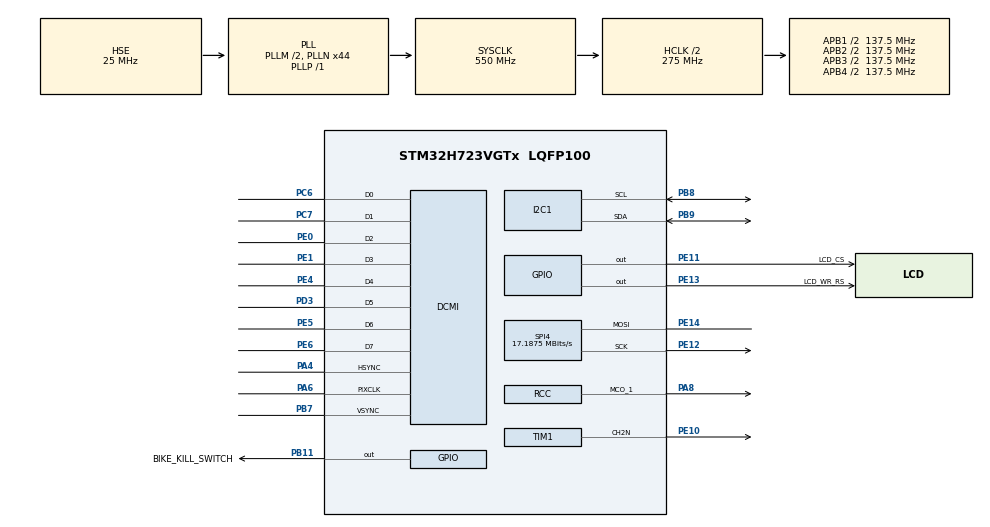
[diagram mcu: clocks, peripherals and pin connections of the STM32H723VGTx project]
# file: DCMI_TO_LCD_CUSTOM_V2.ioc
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CORTEX_M7.CPU_DCache=Enabled
CORTEX_M7.CPU_ICache=Enabled
CORTEX_M7.MPU_Control=__NULL
DCMI.CaptureRate=DCMI_CR_ALL_FRAME
DCMI.PCKPolarity=DCMI_PCKPOLARITY_RISING
Dma.DCMI.0.Direction=DMA_PERIPH_TO_MEMORY
Dma.DCMI.0.EventEnable=DISABLE
Dma.DCMI.0.FIFOMode=DMA_FIFOMODE_DISABLE
Dma.DCMI.0.Instance=DMA1_Stream0
Dma.DCMI.0.MemDataAlignment=DMA_MDATAALIGN_WORD
Dma.DCMI.0.MemInc=DMA_MINC_ENABLE
Dma.DCMI.0.Mode=DMA_CIRCULAR
Dma.DCMI.0.PeriphDataAlignment=DMA_PDATAALIGN_WORD
Dma.DCMI.0.PeriphInc=DMA_PINC_DISABLE
Dma.DCMI.0.Polarity=HAL_DMAMUX_REQ_GEN_RISING
Dma.DCMI.0.Priority=DMA_PRIORITY_MEDIUM
Dma.DCMI.0.RequestNumber=1
Dma.DCMI.0.SignalID=NONE
Dma.DCMI.0.SyncEnable=DISABLE
Dma.DCMI.0.SyncPolarity=HAL_DMAMUX_SYNC_NO_EVENT
Dma.DCMI.0.SyncRequestNumber=1
Dma.DCMI.0.SyncSignalID=NONE
Dma.Request0=DCMI
I2C1.Timing=0x60404E72
Mcu.Family=STM32H7
Mcu.Name=STM32H723VGTx
Mcu.Package=LQFP100
NVIC.DCMI_PSSI_IRQn=true\:0\:0\:false\:false\:true\:true\:true\:true
NVIC.DMA1_Stream0_IRQn=true\:0\:0\:false\:false\:true\:false\:true\:true
NVIC.PriorityGroup=NVIC_PRIORITYGROUP_4
PA13(JTMS/SWDIO).Mode=Serial_Wire
PA13(JTMS/SWDIO).Signal=DEBUG_JTMS-SWDIO
PA14(JTCK/SWCLK).Mode=Serial_Wire
PA14(JTCK/SWCLK).Signal=DEBUG_JTCK-SWCLK
PA4.Mode=Slave_8_bits_External_Synchro
PA4.Signal=DCMI_HSYNC
PA6.Mode=Slave_8_bits_External_Synchro
PA6.Signal=DCMI_PIXCLK
PA8.GPIO_Speed=GPIO_SPEED_FREQ_VERY_HIGH
PA8.Mode=Clock-out-1
PA8.Signal=RCC_MCO_1
PB11.GPIO_Label=BIKE_KILL_SWITCH
PB11.Signal=GPIO_Output
PB7.Mode=Slave_8_bits_External_Synchro
PB7.Signal=DCMI_VSYNC
PB8.Mode=I2C
PB8.Signal=I2C1_SCL
PB9.Mode=I2C
PB9.Signal=I2C1_SDA
PC14-OSC32_IN.Mode=LSE-External-Oscillator
PC14-OSC32_IN.Signal=RCC_OSC32_IN
PC15-OSC32_OUT.Mode=LSE-External-Oscillator
PC15-OSC32_OUT.Signal=RCC_OSC32_OUT
PC6.Mode=Slave_8_bits_External_Synchro
PC6.Signal=DCMI_D0
PC7.Mode=Slave_8_bits_External_Synchro
PC7.Signal=DCMI_D1
PD3.Mode=Slave_8_bits_External_Synchro
PD3.Signal=DCMI_D5
PE0.Mode=Slave_8_bits_External_Synchro
PE0.Signal=DCMI_D2
PE1.Mode=Slave_8_bits_External_Synchro
PE1.Signal=DCMI_D3
PE10.Mode=PWM Generation2 CH2N
PE10.Signal=TIM1_CH2N
PE11.GPIO_Label=LCD_CS
PE11.GPIO_Speed=GPIO_SPEED_FREQ_MEDIUM
PE11.Signal=GPIO_Output
PE12.GPIO_Speed=GPIO_SPEED_FREQ_MEDIUM
PE12.Mode=Simplex_Bidirectional_Master
PE12.Signal=SPI4_SCK
PE13.GPIO_Label=LCD_WR_RS
PE13.GPIO_Speed=GPIO_SPEED_FREQ_MEDIUM
PE13.Signal=GPIO_Output
PE14.GPIO_Speed=GPIO_SPEED_FREQ_MEDIUM
PE14.Mode=Simplex_Bidirectional_Master
PE14.Signal=SPI4_MOSI
PE4.Mode=Slave_8_bits_External_Synchro
PE4.Signal=DCMI_D4
PE5.Mode=Slave_8_bits_External_Synchro
PE5.Signal=DCMI_D6
PE6.Mode=Slave_8_bits_External_Synchro
PE6.Signal=DCMI_D7
PH0-OSC_IN.Mode=HSE-External-Oscillator
PH0-OSC_IN.Signal=RCC_OSC_IN
PH1-OSC_OUT.Mode=HSE-External-Oscillator
PH1-OSC_OUT.Signal=RCC_OSC_OUT
ProjectManager.HeapSize=0x800
ProjectManager.StackSize=0x800
ProjectManager.TargetToolchain=STM32CubeIDE
RCC.ADCFreq_Value=50390625
RCC.APB1Freq_Value=137500000
RCC.APB2Freq_Value=137500000
RCC.APB3Freq_Value=137500000
RCC.APB4Freq_Value=137500000
RCC.CortexFreq_Value=550000000
RCC.D1PPRE=RCC_APB3_DIV2
RCC.D2PPRE1=RCC_APB1_DIV2
RCC.D2PPRE2=RCC_APB2_DIV2
RCC.D3PPRE=RCC_APB4_DIV2
RCC.DIVM1=2
RCC.DIVN1=44
RCC.DIVP1=1
RCC.DIVQ1=46
RCC.HCLKFreq_Value=275000000
RCC.HPRE=RCC_HCLK_DIV2
RCC.PLLFRACN=0
RCC.PLLSourceVirtual=RCC_PLLSOURCE_HSE
RCC.RCC_MCO1Source=RCC_MCO1SOURCE_HSI48
RCC.RCC_MCODiv1=RCC_MCODIV_4
RCC.RTCClockSelection=RCC_RTCCLKSOURCE_LSE
RCC.SYSCLKFreq_VALUE=550000000
RCC.SYSCLKSource=RCC_SYSCLKSOURCE_PLLCLK
RCC.USBFreq_Value=11956521.739130436
SPI4.BaudRatePrescaler=SPI_BAUDRATEPRESCALER_8
SPI4.CalculateBaudRate=17.1875 MBits/s
SPI4.DataSize=SPI_DATASIZE_8BIT
SPI4.Direction=SPI_DIRECTION_1LINE
SPI4.Mode=SPI_MODE_MASTER
SPI4.VirtualType=VM_MASTER
STMicroelectronics.X-CUBE-AI.10.1.0.ActivationBufferSizeList=131364
STMicroelectronics.X-CUBE-AI.10.1.0.ActivationBuffers=pool0
STMicroelectronics.X-CUBE-AI.10.1.0.ActivationNames=pool0
STMicroelectronics.X-CUBE-AI.10.1.0.ActivationSizes=AI_NETWORK_DATA_ACTIVATION_1_SIZE
STMicroelectronics.X-CUBE-AI.10.1.0.HeapSize=0x800
STMicroelectronics.X-CUBE-AI.10.1.0.InternalRamActivationBufferMaxSize=AI_NETWORK_DATA_ACTIVATIONS_SIZE
STMicroelectronics.X-CUBE-AI.10.1.0.LatestDirectoryUsed-61e12a1dc44319770d8cb597dcebdf13494e37fc0448341a037d5796bdca4b41=C\:\\Users\\sudha\\Downloads\\ryujin-project-1-cpp-mcu-v4\\tflite-model
STMicroelectronics.X-CUBE-AI.10.1.0.MaximumNumberOfInputLayer=1
STMicroelectronics.X-CUBE-AI.10.1.0.MaximumNumberOfOutputLayer=1
STMicroelectronics.X-CUBE-AI.10.1.0.MaximumSizeOfInputLayer=1
STMicroelectronics.X-CUBE-AI.10.1.0.MaximumSizeOfOutputLayer=1
STMicroelectronics.X-CUBE-AI.10.1.0.ModelActualCompression-61e12a1dc44319770d8cb597dcebdf13494e37fc0448341a037d5796bdca4b41=0.0
STMicroelectronics.X-CUBE-AI.10.1.0.ModelCompression-61e12a1dc44319770d8cb597dcebdf13494e37fc0448341a037d5796bdca4b41=None
STMicroelectronics.X-CUBE-AI.10.1.0.ModelFlashOccupation-61e12a1dc44319770d8cb597dcebdf13494e37fc0448341a037d5796bdca4b41=66441
STMicroelectronics.X-CUBE-AI.10.1.0.ModelHashList=61e12a1dc44319770d8cb597dcebdf13494e37fc0448341a037d5796bdca4b41
STMicroelectronics.X-CUBE-AI.10.1.0.ModelKind-61e12a1dc44319770d8cb597dcebdf13494e37fc0448341a037d5796bdca4b41=TFLITE
STMicroelectronics.X-CUBE-AI.10.1.0.ModelMacc-61e12a1dc44319770d8cb597dcebdf13494e37fc0448341a037d5796bdca4b41=5889499
STMicroelectronics.X-CUBE-AI.10.1.0.ModelName-61e12a1dc44319770d8cb597dcebdf13494e37fc0448341a037d5796bdca4b41=network
STMicroelectronics.X-CUBE-AI.10.1.0.ModelNameList=network
STMicroelectronics.X-CUBE-AI.10.1.0.ModelRamOccupation-61e12a1dc44319770d8cb597dcebdf13494e37fc0448341a037d5796bdca4b41=131364
STMicroelectronics.X-CUBE-AI.10.1.0.ModelStructureFile-61e12a1dc44319770d8cb597dcebdf13494e37fc0448341a037d5796bdca4b41=C\:\\Users\\sudha\\Downloads\\ryujin-project-1-cpp-mcu-v4\\tflite-model\\tflite_learn_779780_11.tflite
STMicroelectronics.X-CUBE-AI.10.1.0.ModelType-61e12a1dc44319770d8cb597dcebdf13494e37fc0448341a037d5796bdca4b41=STM32Cube.AI MCU runtime
STMicroelectronics.X-CUBE-AI.10.1.0.ReadyForCodeGeneration=true
STMicroelectronics.X-CUBE-AI.10.1.0.StackSize=0x800
STMicroelectronics.X-CUBE-AI.10.1.0.WorkingBufferStartAddrList=0xFFFFFFFF
STMicroelectronics.X-CUBE-AI.10.1.0.XAaCUBEAaAICcArtificialOoIntelligenceJjCore=true
STMicroelectronics.X-CUBE-AI.10.1.0.copyWeightToRam=false
STMicroelectronics.X-CUBE-AI.10.1.0.copyWeightToRam-61e12a1dc44319770d8cb597dcebdf13494e37fc0448341a037d5796bdca4b41=false
STMicroelectronics.X-CUBE-AI.10.1.0.customLayerConfigEnabled=false
STMicroelectronics.X-CUBE-AI.10.1.0.customLayerConfigEnabled-61e12a1dc44319770d8cb597dcebdf13494e37fc0448341a037d5796bdca4b41=false
STMicroelectronics.X-CUBE-AI.10.1.0.noOnnxIoTranspose=false
STMicroelectronics.X-CUBE-AI.10.1.0.noOnnxIoTranspose-61e12a1dc44319770d8cb597dcebdf13494e37fc0448341a037d5796bdca4b41=false
STMicroelectronics.X-CUBE-AI.10.1.0.useInputAllocation=true
STMicroelectronics.X-CUBE-AI.10.1.0.useInputAllocation-61e12a1dc44319770d8cb597dcebdf13494e37fc0448341a037d5796bdca4b41=true
STMicroelectronics.X-CUBE-AI.10.1.0.useOutputAllocation=true
STMicroelectronics.X-CUBE-AI.10.1.0.useOutputAllocation-61e12a1dc44319770d8cb597dcebdf13494e37fc0448341a037d5796bdca4b41=true
TIM1.Channel-PWM\ Generation2\ CH2N=TIM_CHANNEL_2
TIM1.OCNPolarity_2=TIM_OCNPOLARITY_LOW
TIM1.Period=1000-1
TIM1.Prescaler=14-1
VP_RTC_VS_RTC_Activate.Mode=RTC_Enabled
VP_RTC_VS_RTC_Calendar.Mode=RTC_Calendar
VP_STMicroelectronics.X-CUBE-AI_VS_ArtificialOoIntelligenceJjXAaCUBEAaAI_10.1.0.Mode=ArtificialOoIntelligenceJjXAaCUBEAaAI
board=custom

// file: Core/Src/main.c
/* USER CODE BEGIN Header */
/**
  ******************************************************************************
  * @file           : main.c
  * @brief          : Main program body
  ******************************************************************************
  * @attention
  *
  * Copyright (c) 2025 STMicroelectronics.
  * All rights reserved.
  *
  * This software is licensed under terms that can be found in the LICENSE file
  * in the root directory of this software component.
  * If no LICENSE file comes with this software, it is provided AS-IS.
  *
  ******************************************************************************
  */
/* USER CODE END Header */
#include "main.h"
#include "dcmi.h"
#include "dma.h"
#include "i2c.h"
#include "rtc.h"
#include "spi.h"
#include "tim.h"
#include "gpio.h"

/* USER CODE BEGIN Includes */
#include "lcd.h"
#include "board.h"
#include "camera.h"
#include "ov2640.h" // <-- IMPORTANT: Make sure to include the official driver header

// IMPORTANT: Include the generated AI header files
#include "ai_platform.h"
#include "network.h"
#include "network_data.h"
/* USER CODE END Includes */

/* USER CODE BEGIN PD */
//extern ST7735_Object_t st7735_pObj; // We need to access the LCD object
/* USER CODE END PD */

/* USER CODE BEGIN PV */
#ifdef TFT96
// QQVGA (For 160x80 screen, we capture a 160x120 image)
#define FrameWidth 160
#define FrameHeight 120
#elif TFT18
// QQVGA2
#define FrameWidth 128
#define FrameHeight 160
#endif
// picture buffer
uint16_t pic[FrameHeight][FrameWidth] __attribute__((section(".RAM_D2")));
volatile uint32_t DCMI_FrameIsReady = 0;
uint32_t Camera_FPS=0;
uint8_t i = 0;

// --- AI Model Buffers & Handles ---
AI_ALIGNED(32)
static ai_u8 ai_activation_buffer[AI_NETWORK_DATA_ACTIVATIONS_SIZE];
AI_ALIGNED(32)
static ai_i8 ai_input_buffer[AI_NETWORK_IN_1_SIZE]; // Use ai_i8 for int8_t
AI_ALIGNED(32)
static ai_i8 ai_output_buffer[AI_NETWORK_OUT_1_SIZE]; // Use ai_i8 for int8_t
static ai_handle network = AI_HANDLE_NULL;

// --- Labels for YOUR custom model ---
const char *labels[] = { "With Helmet", "Without Helmet" };

static uint32_t helmet_on_timestamp = 0;
/* USER CODE END PV */

void SystemClock_Config(void);
/* USER CODE BEGIN PFP */
static void MPU_Config(void);
static void AI_Init(void);
static void AI_Run(const void *in_data, void *out_data);
static void Preprocess_Image(uint16_t* input_buf, int8_t* output_buf);
void Postprocess_And_Draw(void);
/* USER CODE END PFP */

/* USER CODE BEGIN 0 */

// THIS IS THE ONE AND ONLY, CORRECT MPU CONFIG
static void MPU_Config(void)
{
  MPU_Region_InitTypeDef MPU_InitStruct = {0};
  HAL_MPU_Disable();

  // Configure AXI SRAM as cacheable
  MPU_InitStruct.Enable           = MPU_REGION_ENABLE;
  MPU_InitStruct.BaseAddress      = 0x24000000;
  MPU_InitStruct.Size             = MPU_REGION_SIZE_512KB;
  MPU_InitStruct.AccessPermission = MPU_REGION_FULL_ACCESS;
  MPU_InitStruct.IsBufferable     = MPU_ACCESS_BUFFERABLE;
  MPU_InitStruct.IsCacheable      = MPU_ACCESS_CACHEABLE;
  MPU_InitStruct.IsShareable      = MPU_ACCESS_NOT_SHAREABLE;
  MPU_InitStruct.Number           = MPU_REGION_NUMBER0;
  MPU_InitStruct.TypeExtField     = MPU_TEX_LEVEL1;
  MPU_InitStruct.SubRegionDisable = 0x00;
  MPU_InitStruct.DisableExec      = MPU_INSTRUCTION_ACCESS_DISABLE;
  HAL_MPU_ConfigRegion(&MPU_InitStruct);

  // Configure D2 RAM (where 'pic' buffer is) as NON-CACHEABLE
  MPU_InitStruct.Enable           = MPU_REGION_ENABLE;
  MPU_InitStruct.Number           = MPU_REGION_NUMBER1;
  MPU_InitStruct.BaseAddress      = 0x30000000;
  MPU_InitStruct.Size             = MPU_REGION_SIZE_256KB;
  MPU_InitStruct.AccessPermission = MPU_REGION_FULL_ACCESS;
  MPU_InitStruct.IsBufferable     = MPU_ACCESS_BUFFERABLE;
  MPU_InitStruct.IsCacheable      = MPU_ACCESS_NOT_CACHEABLE; // The magic line
  MPU_InitStruct.IsShareable      = MPU_ACCESS_NOT_SHAREABLE;
  MPU_InitStruct.TypeExtField     = MPU_TEX_LEVEL0;
  MPU_InitStruct.SubRegionDisable = 0x00;
  MPU_InitStruct.DisableExec      = MPU_INSTRUCTION_ACCESS_DISABLE;
  HAL_MPU_ConfigRegion(&MPU_InitStruct);

  HAL_MPU_Enable(MPU_PRIVILEGED_DEFAULT);
}

// This is our new function to prepare the camera image for the AI model
// This is our final, corrected function to prepare the camera image for the AI model
// FINAL VERSION: Pre-processes a center-cropped, RGB image for your model
void Preprocess_Image(uint16_t* input_buf_rgb565, int8_t* output_buf_rgb888)
{
    // Camera frame dimensions
    uint16_t const input_w = 160;
    uint16_t const input_h = 120;

    // Model input dimensions
    uint16_t const model_w = 96;
    uint16_t const model_h = 96;

    // --- Calculate the offsets for a center crop ---
    uint16_t const x_offset = (input_w - model_w) / 2; // (160 - 96) / 2 = 32
    uint16_t const y_offset = (input_h - model_h) / 2; // (120 - 96) / 2 = 12

    uint32_t out_idx = 0;

    // Loop through the dimensions of the model's input
    for (uint16_t y = 0; y < model_h; y++)
    {
        for (uint16_t x = 0; x < model_w; x++)
        {
            // Get the pixel from the *center* of the camera buffer
            uint16_t pixel = input_buf_rgb565[(y + y_offset) * input_w + (x + x_offset)];

            // Convert from 16-bit RGB565 to 8-bit R, G, B
            uint8_t r = (((pixel >> 11) & 0x1F) * 255) / 31;
            uint8_t g = (((pixel >> 5)  & 0x3F) * 255) / 63;
            uint8_t b = ((pixel & 0x1F) * 255) / 31;

            // Store the 3 color channels in the AI model's input buffer
            // and shift the range from 0-255 to the int8 range of -128 to +127
            output_buf_rgb888[out_idx++] = (int8_t)(r - 128);
            output_buf_rgb888[out_idx++] = (int8_t)(g - 128);
            output_buf_rgb888[out_idx++] = (int8_t)(b - 128);
        }
    }
}

static void AI_Init(void) {
    ai_error err;

    // Create an instance of the network
    err = ai_network_create(&network, AI_NETWORK_DATA_CONFIG);
    if (err.type != AI_ERROR_NONE) {
        // Handle error
        while(1);
    }

    // CORRECTED: Use the suggested function name and the dedicated activation buffer
        const ai_network_params params = AI_NETWORK_PARAMS_INIT(
            AI_NETWORK_DATA_WEIGHTS(ai_network_data_weights_get()),
            AI_NETWORK_DATA_ACTIVATIONS(ai_activation_buffer)
        );

    if (!ai_network_init(network, &params)) {

        // Handle error
        while(1);
    }
}

static void AI_Run(const void *in_data, void *out_data) {
	ai_buffer* ai_input = ai_network_inputs_get(network, NULL);
    ai_buffer* ai_output = ai_network_outputs_get(network, NULL);
    ai_input[0].data = AI_HANDLE_PTR(in_data);
    ai_output[0].data = AI_HANDLE_PTR(out_data);
    ai_network_run(network, ai_input, ai_output);
}

// --- FINAL POST-PROCESSING AND DRAW FUNCTION for your FOMO model ---
// --- FINAL, CORRECTED POST-PROCESSING AND DRAW FUNCTION ---
void Postprocess_And_Draw(void)
{
    bool helmet_found = false;

    // Your FOMO model properties from network.h
    const int grid_w = AI_NETWORK_OUT_1_WIDTH;    // Should be 12
    const int grid_h = AI_NETWORK_OUT_1_HEIGHT;   // Should be 12
    const int num_classes = AI_NETWORK_OUT_1_CHANNEL; // Should be 3

    // We'll work directly with integer scores. A score above 50 is a confident detection.
    const int8_t confidence_threshold = 115;

    int8_t* out_ptr = (int8_t*)ai_output_buffer;

    // First, display the raw camera feed as the background
	ST7735_FillRGBRect(&st7735_pObj, 0, 0, (uint8_t *)&pic[20][0], 160, 80);

    // --- Loop through each cell in the output grid ---
    for (int y = 0; y < grid_h; y++)
    {
        for (int x = 0; x < grid_w; x++)
        {
            // Find the winning class for this cell by finding the highest integer score
            int8_t max_score_int = -128;
            int winning_class_index = -1;

            for (int c = 0; c < num_classes; c++) {
                if (out_ptr[c] > max_score_int) {
                    max_score_int = out_ptr[c];
                    winning_class_index = c;
                }
            }

            // Check if we found a class that isn't background and meets our confidence threshold
            // The label order is often alphabetical: "With Helmet" is 0, "Without Helmet" is 1.
            // Cube.AI might add "background" as the last class (index 2). Let's check our targets.
            if (max_score_int > confidence_threshold)
            {
                int box_size = 160 / grid_w;
                int x1 = x * box_size;
                int y1 = y * box_size;

                // If we found "With Helmet" (index 0)
                if (winning_class_index == 0) {
                    helmet_found = true;
                    ST7735_LCD_Driver.FillRect(&st7735_pObj, x1, y1, box_size, box_size, GREEN);
                }
                // If we found "Without Helmet" (index 1)
                else if (winning_class_index == 1) {
                	ST7735_LCD_Driver.FillRect(&st7735_pObj, x1, y1, box_size, box_size, RED);
                }
                // We ignore the background class (index 2)
            }

            // Move the pointer to the next cell's data
            out_ptr += num_classes;
        }
    }

    // --- Control the kill switch based on our findings ---
//    if (helmet_found) {
//        HAL_GPIO_WritePin(BIKE_KILL_SWITCH_GPIO_Port, BIKE_KILL_SWITCH_Pin, GPIO_PIN_RESET);
//    } else {
//        HAL_GPIO_WritePin(BIKE_KILL_SWITCH_GPIO_Port, BIKE_KILL_SWITCH_Pin, GPIO_PIN_SET);
//    }
}
/* USER CODE END 0 */

int main(void)
{
  /* USER CODE BEGIN 1 */
  MPU_Config();
  /* USER CODE END 1 */

  /* Enable I-Cache---------------------------------------------------------*/
  SCB_EnableICache();

  /* Enable D-Cache---------------------------------------------------------*/
  SCB_EnableDCache();

  /* MCU Configuration--------------------------------------------------------*/

  /* Reset of all peripherals, Initializes the Flash interface and the Systick. */
  HAL_Init();

  /* Configure the system clock */
  SystemClock_Config();

  /* Initialize all configured peripherals */
  MX_GPIO_Init();
  MX_DMA_Init();
  MX_DCMI_Init();
  MX_I2C1_Init();
  MX_RTC_Init();
  MX_SPI4_Init();
  MX_TIM1_Init();
  /* USER CODE BEGIN 2 */

  board_button_init();
  board_led_init();

  LCD_Test();
  LCD_SetBrightness(100);

  // Initialize the AI Model
  AI_Init();

  uint8_t text[30];

  #ifdef TFT96
  Camera_Init_Device(&hi2c1, FRAMESIZE_QQVGA);
  #elif TFT18
  Camera_Init_Device(&hi2c1, FRAMESIZE_QQVGA2);
  #endif
  //clean Ypos 58
  // Clear the area for the FPS counter BEFORE writing the new one
  ST7735_LCD_Driver.FillRect(&st7735_pObj, 0, 0, ST7735Ctx.Width, ST7735Ctx.Height, BLACK);

  uint8_t text_buffer[50];
  if (ov2640_init(FRAMESIZE_QQVGA) == Camera_OK)
  {
   sprintf((char *)text_buffer, "System Online..");
   LCD_ShowString(10, 30, 200, 16, 16, text_buffer);
   HAL_Delay(1000);
   // We will now start the capture inside the loop
  }
  else
  {
   // Handle camera init failure
   sprintf((char *)text_buffer, "No camera found.");
   LCD_ShowString(10, 30, 200, 16, 16, text_buffer);
   while(1);
  }

//  while (HAL_GPIO_ReadPin(KEY_GPIO_Port, KEY_Pin) == GPIO_PIN_RESET)
//  {
//
//    sprintf((char *)&text, "Camera id:0x%x        ", hcamera.device_id);
//    LCD_ShowString(4, 58, ST7735Ctx.Width, 16, 12, text);
//
//    HAL_Delay(500);
//
//    sprintf((char *)&text, "LongPress K1 to Run");
//    LCD_ShowString(4, 58, ST7735Ctx.Width, 16, 12, text);
//
//  	HAL_Delay(500);
//  }
  HAL_DCMI_Start_DMA(&hdcmi, DCMI_MODE_CONTINUOUS, (uint32_t)&pic, FrameWidth * FrameHeight * 2 / 4);
  /* USER CODE END 2 */

  /* Infinite loop */
  while (1)
  {

    /* USER CODE BEGIN 3 */
	  if (DCMI_FrameIsReady)
	      {
	          DCMI_FrameIsReady = 0;
	          // --- THE MAGIC LINE ---
	          // Manually invalidate the D-Cache for the pic buffer.
	          // This forces the CPU to fetch the fresh data written by the DMA from RAM.
	          SCB_InvalidateDCache_by_Addr((uint32_t*)pic, sizeof(pic));

	          #ifdef TFT96
	          ST7735_FillRGBRect(&st7735_pObj,0,0,(uint8_t *)&pic[20][0], ST7735Ctx.Width, 80);
	          #elif TFT18
	          ST7735_FillRGBRect(&st7735_pObj,0,0,(uint8_t *)&pic[0][0], ST7735Ctx.Width, ST7735Ctx.Height);
  	          #endif

	          // --- 1. PRE-PROCESS ---
	          Preprocess_Image((uint16_t*)pic, (int8_t*)ai_input_buffer);

	          // --- 2. INFERENCE ---
	          AI_Run(ai_input_buffer, ai_output_buffer);

	          // --- 3. POST-PROCESSING AND DRAW RESULTS ---
//	          Postprocess_And_Draw();
	          // --- FOMO Post-Processing Logic ---
	              // The output is a grid. These values come directly from your network.h!
	          bool helmet_found = false;
	          const int8_t confidence_threshold = 115;
	          const int grid_w = AI_NETWORK_OUT_1_WIDTH;    // Should be 12
	          const int grid_h = AI_NETWORK_OUT_1_HEIGHT;   // Should be 12
	          const int num_classes = AI_NETWORK_OUT_1_CHANNEL; // Should be 3

	          int8_t* out_ptr = (int8_t*)ai_output_buffer;

	          // Display the raw camera feed as the background
	          //ST7735_FillRGBRect(&st7735_pObj, 0, 0, (uint8_t *)&pic[20][0], 160, 80);

	          for (int y = 0; y < grid_h; y++) {
	        	  for (int x = 0; x < grid_w; x++) {
	        		  // Find the winning class for this cell
	                  int8_t max_score_int = -128;
	                  int winning_class_index = -1;

	                  for (int c = 0; c < num_classes; c++) {
	                	  if (out_ptr[c] > max_score_int) {
	                		  max_score_int = out_ptr[c];
	                          winning_class_index = c;
	                      }
	                  }

	                  // NOTE: The label order is alphabetical.
	                  // In Edge Impulse: "With Helmet" is 0, "Without Helmet" is 1.
	                  // Cube.AI adds a "background" class, often at the end.
	                  // Let's assume for now 0="With Helmet", 1="Without Helmet", 2="background"
	                  if (winning_class_index == 1 && max_score_int > confidence_threshold) // Threshold on int8 score
	                  {
	                       helmet_found = true;
	                       int box_size = 160 / grid_w;
	                       ST7735_LCD_Driver.FillRect(&st7735_pObj, x * box_size, y * box_size, box_size, box_size, GREEN);
	                  }

	                  out_ptr += num_classes;
	              }
	          }

	          // 4. Control the kill switch GPIO
	          // --- NON-BLOCKING LOGIC ---
	          uint8_t text_buffer[50];
	          		if (helmet_found)
	          		{
	          			// A helmet was found! Set the pin HIGH and start/reset the 10-second timer.
	          			HAL_GPIO_WritePin(BIKE_KILL_SWITCH_GPIO_Port, BIKE_KILL_SWITCH_Pin, GPIO_PIN_RESET);
	          			helmet_on_timestamp = HAL_GetTick();

	                      // Display the "Helmet Detected" message
	          			sprintf((char *)text_buffer,"Helmet Detected");
	          			LCD_ShowString(70, 65, 90, 12, 12, text_buffer); // Bottom right
	          		}
	          		else if (helmet_on_timestamp > 0)
	          		{
	          			// No helmet was found, but the timer is active. Check if 10s have passed.
	          			if (HAL_GetTick() - helmet_on_timestamp > 10000) // Every 5 seconds
	          			{
	          				// 10 seconds are up! Turn the pin LOW and stop the timer.
	          				HAL_GPIO_WritePin(BIKE_KILL_SWITCH_GPIO_Port, BIKE_KILL_SWITCH_Pin, GPIO_PIN_SET);
	          				helmet_on_timestamp = 0;

	                          // Also clear the message from the screen
	                          ST7735_LCD_Driver.FillRect(&st7735_pObj, 70, 65, 90, 12, BLACK);
	          			}
	          			else
	          			{
	          				// Timer is still running, so keep the message on screen
	          				sprintf((char *)text_buffer,"Has Helmet Detected..");
	          				LCD_ShowString(70, 65, 90, 12, 12, text_buffer);
	          			}
	          		}
	          		// If no helmet is found and the timer is off, the pin is already LOW and the screen is clear.

	          // --- Update UI Elements like FPS counter ---
	          ST7735_LCD_Driver.FillRect(&st7735_pObj, 5, 5, 60, 12, BLACK);
	          sprintf((char *)&text,"%luFPS",Camera_FPS);
	          LCD_ShowString(5,5,60,16,12,text);

	          //board_led_toggle();
	      }
  }
  /* USER CODE END 3 */
}

void SystemClock_Config(void)
{
  RCC_OscInitTypeDef RCC_OscInitStruct = {0};
  RCC_ClkInitTypeDef RCC_ClkInitStruct = {0};

  /** Supply configuration update enable
  */
  HAL_PWREx_ConfigSupply(PWR_LDO_SUPPLY);

  /** Configure the main internal regulator output voltage
  */
  __HAL_PWR_VOLTAGESCALING_CONFIG(PWR_REGULATOR_VOLTAGE_SCALE0);

  while(!__HAL_PWR_GET_FLAG(PWR_FLAG_VOSRDY)) {}

  /** Configure LSE Drive Capability
  */
  HAL_PWR_EnableBkUpAccess();
  __HAL_RCC_LSEDRIVE_CONFIG(RCC_LSEDRIVE_LOW);

  /** Initializes the RCC Oscillators according to the specified parameters
  * in the RCC_OscInitTypeDef structure.
  */
  RCC_OscInitStruct.OscillatorType = RCC_OSCILLATORTYPE_HSI48|RCC_OSCILLATORTYPE_HSE
                              |RCC_OSCILLATORTYPE_LSE;
  RCC_OscInitStruct.HSEState = RCC_HSE_ON;
  RCC_OscInitStruct.LSEState = RCC_LSE_ON;
  RCC_OscInitStruct.HSI48State = RCC_HSI48_ON;
  RCC_OscInitStruct.PLL.PLLState = RCC_PLL_ON;
  RCC_OscInitStruct.PLL.PLLSource = RCC_PLLSOURCE_HSE;
  RCC_OscInitStruct.PLL.PLLM = 2;
  RCC_OscInitStruct.PLL.PLLN = 44;
  RCC_OscInitStruct.PLL.PLLP = 1;
  RCC_OscInitStruct.PLL.PLLQ = 46;
  RCC_OscInitStruct.PLL.PLLR = 2;
  RCC_OscInitStruct.PLL.PLLRGE = RCC_PLL1VCIRANGE_3;
  RCC_OscInitStruct.PLL.PLLVCOSEL = RCC_PLL1VCOWIDE;
  RCC_OscInitStruct.PLL.PLLFRACN = 0;
  if (HAL_RCC_OscConfig(&RCC_OscInitStruct) != HAL_OK)
  {
    Error_Handler();
  }

  /** Initializes the CPU, AHB and APB buses clocks
  */
  RCC_ClkInitStruct.ClockType = RCC_CLOCKTYPE_HCLK|RCC_CLOCKTYPE_SYSCLK
                              |RCC_CLOCKTYPE_PCLK1|RCC_CLOCKTYPE_PCLK2
                              |RCC_CLOCKTYPE_D3PCLK1|RCC_CLOCKTYPE_D1PCLK1;
  RCC_ClkInitStruct.SYSCLKSource = RCC_SYSCLKSOURCE_PLLCLK;
  RCC_ClkInitStruct.SYSCLKDivider = RCC_SYSCLK_DIV1;
  RCC_ClkInitStruct.AHBCLKDivider = RCC_HCLK_DIV2;
  RCC_ClkInitStruct.APB3CLKDivider = RCC_APB3_DIV2;
  RCC_ClkInitStruct.APB1CLKDivider = RCC_APB1_DIV2;
  RCC_ClkInitStruct.APB2CLKDivider = RCC_APB2_DIV2;
  RCC_ClkInitStruct.APB4CLKDivider = RCC_APB4_DIV2;

  if (HAL_RCC_ClockConfig(&RCC_ClkInitStruct, FLASH_LATENCY_3) != HAL_OK)
  {
    Error_Handler();
  }
  HAL_RCC_MCOConfig(RCC_MCO1, RCC_MCO1SOURCE_HSI48, RCC_MCODIV_4);
}

/* USER CODE BEGIN 4 */
void HAL_DCMI_FrameEventCallback(DCMI_HandleTypeDef *hdcmi)
{
	static uint32_t count = 0,tick = 0;

	if(HAL_GetTick() - tick >= 1000)
	{
		tick = HAL_GetTick();
		Camera_FPS = count;
		count = 0;
	}
	count ++;

  DCMI_FrameIsReady ++;
}
/* USER CODE END 4 */

void Error_Handler(void)
{
  __disable_irq();
  while (1)
  {
  }
}
